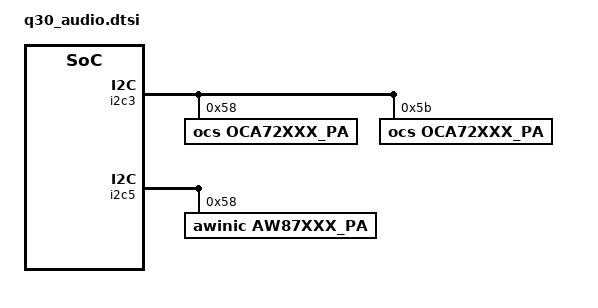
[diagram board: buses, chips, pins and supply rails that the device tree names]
&i2c3 {
	oca72xxx_pa@58 {
		compatible = "ocs,oca72xxx_pa";
		reg = <0x58>;
		dev_index = < 1 >;
		status = "okay";
	};

	oca72xxx_pa@5b {
		compatible = "ocs,oca72xxx_pa";
		reg = <0x5b>;
		dev_index = < 0 >;
		status = "okay";
	};
};

&i2c5 {
	aw87xxx_pa@58 {
		compatible = "awinic,aw87xxx_pa";
		reg = <0x58>;
		dev_index = < 0 >;
		status = "okay";
	};
};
